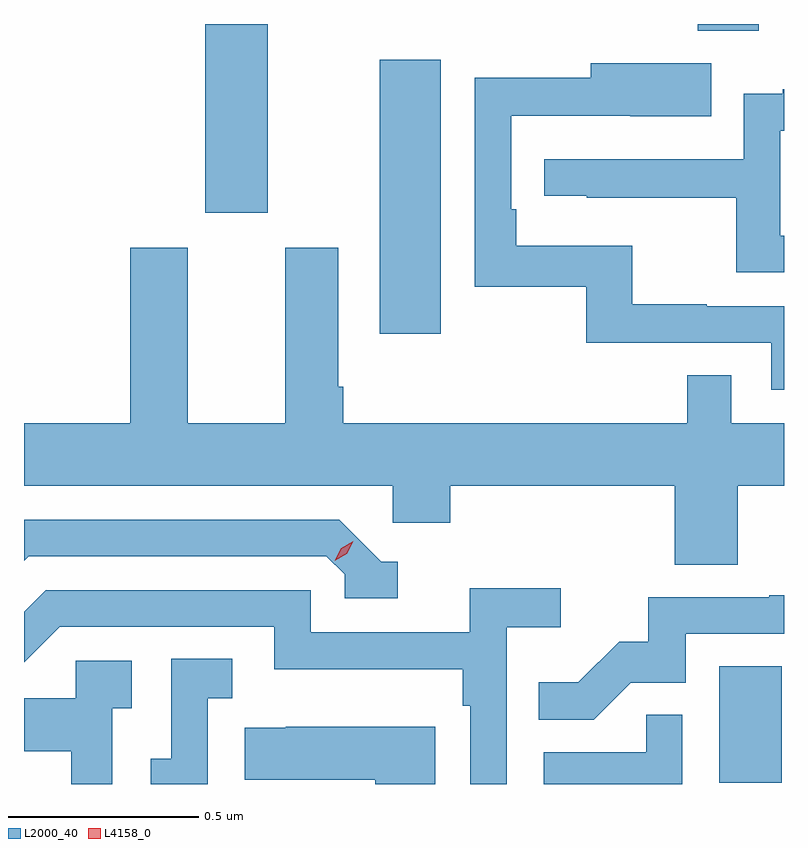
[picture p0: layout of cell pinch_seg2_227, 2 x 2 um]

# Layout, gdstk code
import gdstk
lib = gdstk.Library(unit=1e-6, precision=1e-09)
def R(c, l, rs):  # rectangles x0, y0, x1, y1
    for r in rs: c.add(gdstk.rectangle(r[:2], r[2:], *l))
def P(c, l, *ps):  # polygons
    for p in ps: c.add(gdstk.Polygon(p, *l))
L2000_40 = (2000, 40)
L4158_0 = (4158, 0)

pinch_seg2_227 = lib.new_cell('pinch_seg2_227')
R(pinch_seg2_227, L2000_40, [(1014.068,646.854,1014.232,647.161), (1013.174,648.036,1013.335,648.757), (1012.715,648.354,1012.879,648.851), (1014.011,648.833,1014.171,648.851)])
P(pinch_seg2_227, L2000_40, [(1014.238,648.108),(1014.035,648.108),(1014.035,648.113),(1013.839,648.113),(1013.839,648.268),(1013.534,648.268),(1013.534,648.364),(1013.52,648.364),(1013.52,648.609),(1013.833,648.609),(1013.833,648.608),(1014.047,648.608),(1014.047,648.748),(1013.729,648.748),(1013.729,648.71),(1013.424,648.71),(1013.424,648.159),(1013.718,648.159),(1013.718,648.012),(1014.204,648.012),(1014.204,647.889),(1014.238,647.889)],
  [(1014.238,648.294),(1014.228,648.294),(1014.228,648.57),(1014.238,648.57),(1014.238,648.679),(1014.235,648.679),(1014.235,648.667),(1014.132,648.667),(1014.132,648.495),(1013.607,648.495),(1013.607,648.399),(1013.719,648.399),(1013.719,648.394),(1014.112,648.394),(1014.112,648.198),(1014.238,648.198)],
  [(1014.116,647.636),(1014.238,647.636),(1014.238,647.8),(1014.099,647.8),(1014.099,647.927),(1013.983,647.927),(1013.983,647.8),(1013.078,647.8),(1013.078,647.896),(1013.065,647.896),(1013.065,648.262),(1012.925,648.262),(1012.925,647.8),(1012.669,647.8),(1012.669,648.262),(1012.517,648.262),(1012.517,647.8),(1012.238,647.8),(1012.238,647.636),(1013.208,647.636),(1013.208,647.538),(1013.36,647.538),(1013.36,647.636),(1013.951,647.636),(1013.951,647.428),(1014.116,647.428)],
  [(1013.221,647.436),(1013.178,647.436),(1013.067,647.547),(1012.238,647.547),(1012.238,647.438),(1012.251,647.451),(1013.034,647.451),(1013.082,647.403),(1013.082,647.34),(1013.221,647.34)],
  [(1013.508,647.264),(1013.65,647.264),(1013.65,647.366),(1013.411,647.366),(1013.411,647.25),(1012.992,647.25),(1012.992,647.361),(1012.295,647.361),(1012.238,647.304),(1012.238,647.171),(1012.332,647.265),(1012.896,647.265),(1012.896,647.153),(1013.392,647.153),(1013.392,647.057),(1013.412,647.057),(1013.412,646.851),(1013.508,646.851)],
  [(1013.835,647.118),(1013.979,647.118),(1013.979,647.247),(1014.238,647.247),(1014.238,647.348),(1014.199,647.348),(1014.199,647.343),(1013.881,647.343),(1013.881,647.226),(1013.804,647.226),(1013.697,647.119),(1013.593,647.119),(1013.593,647.02),(1013.737,647.02)],
  [(1012.722,647.077),(1012.786,647.077),(1012.786,647.18),(1012.626,647.18),(1012.626,646.917),(1012.571,646.917),(1012.571,646.851),(1012.722,646.851)],
  [(1012.47,647.051),(1012.522,647.051),(1012.522,647.175),(1012.374,647.175),(1012.374,647.077),(1012.238,647.077),(1012.238,646.937),(1012.362,646.937),(1012.362,646.851),(1012.47,646.851)],
  [(1013.97,647.033),(1013.875,647.033),(1013.875,646.935),(1013.606,646.935),(1013.606,646.851),(1013.97,646.851)],
  [(1013.32,647.002),(1012.927,647.002),(1012.927,646.999),(1012.819,646.999),(1012.819,646.862),(1013.162,646.862),(1013.162,646.851),(1013.32,646.851)])
P(pinch_seg2_227, L4158_0, [(1013.056,647.438),(1013.056,647.439),(1013.073,647.471),(1013.104,647.49),(1013.104,647.49),(1013.104,647.49),(1013.087,647.457),(1013.056,647.438)])

lib.write_gds('pinch_seg2_227.gds')
